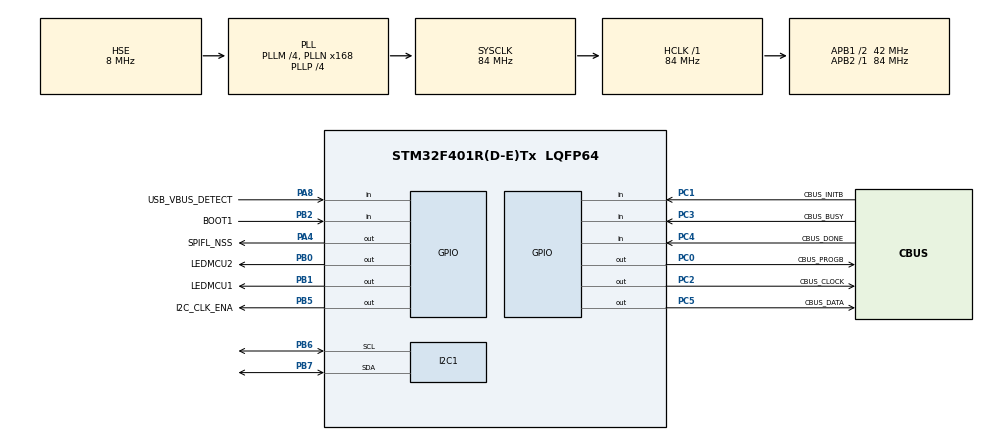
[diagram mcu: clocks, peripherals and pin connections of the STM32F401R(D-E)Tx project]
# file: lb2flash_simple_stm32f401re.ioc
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Mcu.Family=STM32F4
Mcu.Name=STM32F401R(D-E)Tx
Mcu.Package=LQFP64
NVIC.PriorityGroup=NVIC_PRIORITYGROUP_4
PA13.Mode=JTAG_5_pins
PA13.Signal=SYS_JTMS-SWDIO
PA14.Mode=JTAG_5_pins
PA14.Signal=SYS_JTCK-SWCLK
PA15.Mode=JTAG_5_pins
PA15.Signal=SYS_JTDI
PA4.GPIO_Label=SPIFL_NSS
PA4.Signal=GPIO_Output
PA8.GPIO_Label=USB_VBUS_DETECT
PA8.Signal=GPIO_Input
PB0.GPIO_Label=LEDMCU2
PB0.Signal=GPIO_Output
PB1.GPIO_Label=LEDMCU1
PB1.Signal=GPIO_Output
PB2.GPIO_Label=BOOT1
PB2.Signal=GPIO_Input
PB3.Mode=JTAG_5_pins
PB3.Signal=SYS_JTDO-SWO
PB4.Mode=JTAG_5_pins
PB4.Signal=SYS_JTRST
PB5.GPIO_Label=I2C_CLK_ENA
PB5.Signal=GPIO_Output
PB6.Mode=I2C
PB6.Signal=I2C1_SCL
PB7.Mode=I2C
PB7.Signal=I2C1_SDA
PC0.GPIO_Label=CBUS_PROGB
PC0.Signal=GPIO_Output
PC1.GPIO_Label=CBUS_INITB
PC1.GPIO_PuPd=GPIO_PULLUP
PC1.Signal=GPIO_Input
PC2.GPIO_Label=CBUS_CLOCK
PC2.GPIO_ModeDefaultOutputPP=GPIO_MODE_OUTPUT_PP
PC2.GPIO_PuPd=GPIO_PULLUP
PC2.GPIO_Speed=GPIO_SPEED_FREQ_MEDIUM
PC2.Signal=GPIO_Output
PC3.GPIO_Label=CBUS_BUSY
PC3.Signal=GPIO_Input
PC4.GPIO_Label=CBUS_DONE
PC4.GPIO_PuPd=GPIO_PULLUP
PC4.Signal=GPIO_Input
PC5.GPIO_Label=CBUS_DATA
PC5.GPIO_ModeDefaultOutputPP=GPIO_MODE_OUTPUT_OD
PC5.GPIO_PuPd=GPIO_NOPULL
PC5.GPIO_Speed=GPIO_SPEED_FREQ_MEDIUM
PC5.Signal=GPIO_Output
PH0\ -\ OSC_IN.Mode=HSE-External-Oscillator
PH0\ -\ OSC_IN.Signal=RCC_OSC_IN
PH1\ -\ OSC_OUT.Mode=HSE-External-Oscillator
PH1\ -\ OSC_OUT.Signal=RCC_OSC_OUT
ProjectManager.HeapSize=0x200
ProjectManager.StackSize=0x400
ProjectManager.TargetToolchain=Makefile
RCC.48MHZClocksFreq_Value=48000000
RCC.AHBFreq_Value=84000000
RCC.APB1CLKDivider=RCC_HCLK_DIV2
RCC.APB1Freq_Value=42000000
RCC.APB1TimFreq_Value=84000000
RCC.APB2Freq_Value=84000000
RCC.APB2TimFreq_Value=84000000
RCC.CortexFreq_Value=84000000
RCC.HCLKFreq_Value=84000000
RCC.HSE_VALUE=8000000
RCC.HSI_VALUE=16000000
RCC.LSE_VALUE=32768
RCC.PLLM=4
RCC.PLLN=168
RCC.PLLP=RCC_PLLP_DIV4
RCC.PLLQ=7
RCC.PLLSourceVirtual=RCC_PLLSOURCE_HSE
RCC.SYSCLKFreq_VALUE=84000000
RCC.SYSCLKSource=RCC_SYSCLKSOURCE_PLLCLK
RCC.VCOOutputFreq_Value=336000000
board=custom

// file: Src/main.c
/* USER CODE BEGIN Header */
/**
  ******************************************************************************
  * @file           : main.c
  * @brief          : Main program body
  ******************************************************************************
  ** This notice applies to any and all portions of this file
  * that are not between comment pairs USER CODE BEGIN and
  * USER CODE END. Other portions of this file, whether
  * inserted by the user or by software development tools
  * are owned by their respective copyright owners.
  *
  * COPYRIGHT(c) 2019 STMicroelectronics
  *
  * Redistribution and use in source and binary forms, with or without modification,
  * are permitted provided that the following conditions are met:
  *   1. Redistributions of source code must retain the above copyright notice,
  *      this list of conditions and the following disclaimer.
  *   2. Redistributions in binary form must reproduce the above copyright notice,
  *      this list of conditions and the following disclaimer in the documentation
  *      and/or other materials provided with the distribution.
  *   3. Neither the name of STMicroelectronics nor the names of its contributors
  *      may be used to endorse or promote products derived from this software
  *      without specific prior written permission.
  *
  * THIS SOFTWARE IS PROVIDED BY THE COPYRIGHT HOLDERS AND CONTRIBUTORS "AS IS"
  * AND ANY EXPRESS OR IMPLIED WARRANTIES, INCLUDING, BUT NOT LIMITED TO, THE
  * IMPLIED WARRANTIES OF MERCHANTABILITY AND FITNESS FOR A PARTICULAR PURPOSE ARE
  * DISCLAIMED. IN NO EVENT SHALL THE COPYRIGHT HOLDER OR CONTRIBUTORS BE LIABLE
  * FOR ANY DIRECT, INDIRECT, INCIDENTAL, SPECIAL, EXEMPLARY, OR CONSEQUENTIAL
  * DAMAGES (INCLUDING, BUT NOT LIMITED TO, PROCUREMENT OF SUBSTITUTE GOODS OR
  * SERVICES; LOSS OF USE, DATA, OR PROFITS; OR BUSINESS INTERRUPTION) HOWEVER
  * CAUSED AND ON ANY THEORY OF LIABILITY, WHETHER IN CONTRACT, STRICT LIABILITY,
  * OR TORT (INCLUDING NEGLIGENCE OR OTHERWISE) ARISING IN ANY WAY OUT OF THE USE
  * OF THIS SOFTWARE, EVEN IF ADVISED OF THE POSSIBILITY OF SUCH DAMAGE.
  *
  ******************************************************************************
  */
/* USER CODE END Header */

#include "main.h"

/* USER CODE BEGIN Includes */
#include "cdce913_i2c.h"
/* USER CODE END Includes */

I2C_HandleTypeDef hi2c1;

/* USER CODE BEGIN PV */
//__attribute__((__section__(".user_data"))) const volatile uint8_t bitstream [392192];
const volatile uint8_t *bitstream=(const volatile uint8_t *)0x08020004;
const volatile uint32_t *bitstream_size=(const volatile uint32_t *)0x08020000;
//__attribute__((__section__(".user_settings"))) const uint32_t bitstream_size [];
//const volatile uint8_t *userConfig=(const volatile uint32_t *)0x08000000;
/* USER CODE END PV */

void SystemClock_Config(void);
static void MX_GPIO_Init(void);
static void MX_I2C1_Init(void);
/* USER CODE BEGIN PFP */
void push_bitstream ();
void delay();
uint8_t boot_mode_check (void);
/* USER CODE END PFP */

/* USER CODE BEGIN 0 */

void delay ()
{
    uint32_t d = 2;
    while (d--)
    {
	HAL_GPIO_WritePin(LEDMCU2_GPIO_Port, LEDMCU2_Pin, GPIO_PIN_RESET);
    }
}

uint8_t boot_mode_check (void)
{
  if (HAL_GPIO_ReadPin(GPIOB, BOOT1_Pin))
      return 1;
  else
      return 0;
}

void push_bitstream ()
{

    uint8_t progb_set = 0;

    /* Disable interrupts */
//    __disable_irq();
//    if (boot_mode_check())

#ifdef DBG_PRINT
	printf("pre flash unlock\n");
#endif

    HAL_FLASH_Unlock();
    __HAL_FLASH_CLEAR_FLAG(FLASH_FLAG_EOP | FLASH_FLAG_OPERR | FLASH_FLAG_WRPERR | FLASH_FLAG_PGAERR | FLASH_FLAG_PGSERR );

#ifdef DBG_PRINT
	printf("post flash unlock\n");
#endif

    uint32_t bs_size = bitstream_size [0];
//    bs_size += 8; //extra 8 clock cycles

//    uint32_t  bs_size = 128 * 1024;//0xFFFF;
 #ifdef DBG_PRINT
    printf("config size %ld\n", bs_size);
#endif

    //reset MCU2 LED
    HAL_GPIO_WritePin(LEDMCU2_GPIO_Port, LEDMCU2_Pin, GPIO_PIN_RESET);

    //unset CLOCK
    HAL_GPIO_WritePin(CBUS_CLOCK_GPIO_Port, CBUS_CLOCK_Pin, GPIO_PIN_RESET);
    //unset PROGB
    HAL_GPIO_WritePin(CBUS_PROGB_GPIO_Port, CBUS_PROGB_Pin, GPIO_PIN_RESET);
    //unset CBUS_DATA
    HAL_GPIO_WritePin(CBUS_DATA_GPIO_Port, CBUS_DATA_Pin, GPIO_PIN_RESET);

    //wait until INITB is down
    while (!HAL_GPIO_ReadPin(CBUS_INITB_GPIO_Port, CBUS_INITB_Pin))
    {
	if (!progb_set)
	{
	    progb_set = 1;
	    HAL_GPIO_WritePin(CBUS_PROGB_GPIO_Port, CBUS_PROGB_Pin, GPIO_PIN_SET);
	}
    }

    uint32_t i = 0;
    for (i = 0; i < bs_size; i++)
    {

	uint8_t b = bitstream [i];

#ifdef DBG_PRINT
	printf("%lu ", i);
#endif

	uint8_t j;
	j = 8;

	while (j--)
	{

	    HAL_GPIO_WritePin(CBUS_CLOCK_GPIO_Port, CBUS_CLOCK_Pin, GPIO_PIN_RESET);
//	    delay();

	    if (b & (1<<j) )
		HAL_GPIO_WritePin(CBUS_DATA_GPIO_Port, CBUS_DATA_Pin, GPIO_PIN_SET);
	    else HAL_GPIO_WritePin(CBUS_DATA_GPIO_Port, CBUS_DATA_Pin, GPIO_PIN_RESET);

//	    delay();

	    HAL_GPIO_WritePin(CBUS_CLOCK_GPIO_Port, CBUS_CLOCK_Pin, GPIO_PIN_SET);

//	    delay();

	    //asm ("nop");

	}
    }

    HAL_GPIO_WritePin(CBUS_DATA_GPIO_Port, CBUS_DATA_Pin, GPIO_PIN_RESET);
//    delay();

    while (!HAL_GPIO_ReadPin(CBUS_DONE_GPIO_Port, CBUS_DONE_Pin))
    {
	HAL_GPIO_WritePin(CBUS_CLOCK_GPIO_Port, CBUS_CLOCK_Pin, GPIO_PIN_SET);
//	delay();

	HAL_GPIO_WritePin(CBUS_CLOCK_GPIO_Port, CBUS_CLOCK_Pin, GPIO_PIN_RESET);
//	delay();
    }

    for (i = 0; i < 8; i++)
    {
	HAL_GPIO_WritePin(CBUS_CLOCK_GPIO_Port, CBUS_CLOCK_Pin, GPIO_PIN_SET);
//	delay();

	HAL_GPIO_WritePin(CBUS_CLOCK_GPIO_Port, CBUS_CLOCK_Pin, GPIO_PIN_RESET);
//	delay();
    }

    HAL_GPIO_WritePin(LEDMCU2_GPIO_Port, LEDMCU2_Pin, GPIO_PIN_SET);

    HAL_FLASH_Lock();

    HAL_GPIO_WritePin(CBUS_CLOCK_GPIO_Port, CBUS_CLOCK_Pin, GPIO_PIN_RESET);

}

/* USER CODE END 0 */

int main(void)
{

  /* MCU Configuration--------------------------------------------------------*/

  /* Reset of all peripherals, Initializes the Flash interface and the Systick. */
  HAL_Init();

  /* Configure the system clock */
  SystemClock_Config();

  /* Initialize all configured peripherals */
  MX_GPIO_Init();
  MX_I2C1_Init();
  /* USER CODE BEGIN 2 */

   __disable_irq();

//configure the clock generator
  cdce913_output_switch (0);
  cdce913_i2c_push_config(&hi2c1);
  cdce913_output_switch (1);

  push_bitstream ();

// __enable_irq();

  /* USER CODE END 2 */

  /* Infinite loop */
  while (1)
  {

  }
}

void SystemClock_Config(void)
{
  RCC_OscInitTypeDef RCC_OscInitStruct = {0};
  RCC_ClkInitTypeDef RCC_ClkInitStruct = {0};

  /**Configure the main internal regulator output voltage
  */
  __HAL_RCC_PWR_CLK_ENABLE();
  __HAL_PWR_VOLTAGESCALING_CONFIG(PWR_REGULATOR_VOLTAGE_SCALE2);
  /**Initializes the CPU, AHB and APB busses clocks
  */
  RCC_OscInitStruct.OscillatorType = RCC_OSCILLATORTYPE_HSE;
  RCC_OscInitStruct.HSEState = RCC_HSE_ON;
  RCC_OscInitStruct.PLL.PLLState = RCC_PLL_ON;
  RCC_OscInitStruct.PLL.PLLSource = RCC_PLLSOURCE_HSE;
  RCC_OscInitStruct.PLL.PLLM = 4;
  RCC_OscInitStruct.PLL.PLLN = 168;
  RCC_OscInitStruct.PLL.PLLP = RCC_PLLP_DIV4;
  RCC_OscInitStruct.PLL.PLLQ = 7;
  if (HAL_RCC_OscConfig(&RCC_OscInitStruct) != HAL_OK)
  {
    Error_Handler();
  }
  /**Initializes the CPU, AHB and APB busses clocks
  */
  RCC_ClkInitStruct.ClockType = RCC_CLOCKTYPE_HCLK|RCC_CLOCKTYPE_SYSCLK
                              |RCC_CLOCKTYPE_PCLK1|RCC_CLOCKTYPE_PCLK2;
  RCC_ClkInitStruct.SYSCLKSource = RCC_SYSCLKSOURCE_PLLCLK;
  RCC_ClkInitStruct.AHBCLKDivider = RCC_SYSCLK_DIV1;
  RCC_ClkInitStruct.APB1CLKDivider = RCC_HCLK_DIV2;
  RCC_ClkInitStruct.APB2CLKDivider = RCC_HCLK_DIV1;

  if (HAL_RCC_ClockConfig(&RCC_ClkInitStruct, FLASH_LATENCY_2) != HAL_OK)
  {
    Error_Handler();
  }
}

static void MX_I2C1_Init(void)
{

  hi2c1.Instance = I2C1;
  hi2c1.Init.ClockSpeed = 100000;
  hi2c1.Init.DutyCycle = I2C_DUTYCYCLE_2;
  hi2c1.Init.OwnAddress1 = 0;
  hi2c1.Init.AddressingMode = I2C_ADDRESSINGMODE_7BIT;
  hi2c1.Init.DualAddressMode = I2C_DUALADDRESS_DISABLE;
  hi2c1.Init.OwnAddress2 = 0;
  hi2c1.Init.GeneralCallMode = I2C_GENERALCALL_DISABLE;
  hi2c1.Init.NoStretchMode = I2C_NOSTRETCH_DISABLE;
  if (HAL_I2C_Init(&hi2c1) != HAL_OK)
  {
    Error_Handler();
  }

}

static void MX_GPIO_Init(void)
{
  GPIO_InitTypeDef GPIO_InitStruct = {0};

  /* GPIO Ports Clock Enable */
  __HAL_RCC_GPIOH_CLK_ENABLE();
  __HAL_RCC_GPIOC_CLK_ENABLE();
  __HAL_RCC_GPIOA_CLK_ENABLE();
  __HAL_RCC_GPIOB_CLK_ENABLE();

  /*Configure GPIO pin Output Level */
  HAL_GPIO_WritePin(GPIOC, CBUS_PROGB_Pin|CBUS_CLOCK_Pin|CBUS_DATA_Pin, GPIO_PIN_RESET);

  /*Configure GPIO pin Output Level */
  HAL_GPIO_WritePin(SPIFL_NSS_GPIO_Port, SPIFL_NSS_Pin, GPIO_PIN_RESET);

  /*Configure GPIO pin Output Level */
  HAL_GPIO_WritePin(GPIOB, LEDMCU2_Pin|LEDMCU1_Pin|I2C_CLK_ENA_Pin, GPIO_PIN_RESET);

  /*Configure GPIO pin : CBUS_PROGB_Pin */
  GPIO_InitStruct.Pin = CBUS_PROGB_Pin;
  GPIO_InitStruct.Mode = GPIO_MODE_OUTPUT_PP;
  GPIO_InitStruct.Pull = GPIO_NOPULL;
  GPIO_InitStruct.Speed = GPIO_SPEED_FREQ_LOW;
  HAL_GPIO_Init(CBUS_PROGB_GPIO_Port, &GPIO_InitStruct);

  /*Configure GPIO pins : CBUS_INITB_Pin CBUS_DONE_Pin */
  GPIO_InitStruct.Pin = CBUS_INITB_Pin|CBUS_DONE_Pin;
  GPIO_InitStruct.Mode = GPIO_MODE_INPUT;
  GPIO_InitStruct.Pull = GPIO_PULLUP;
  HAL_GPIO_Init(GPIOC, &GPIO_InitStruct);

  /*Configure GPIO pin : CBUS_CLOCK_Pin */
  GPIO_InitStruct.Pin = CBUS_CLOCK_Pin;
  GPIO_InitStruct.Mode = GPIO_MODE_OUTPUT_PP;
  GPIO_InitStruct.Pull = GPIO_PULLUP;
  GPIO_InitStruct.Speed = GPIO_SPEED_FREQ_MEDIUM;
  HAL_GPIO_Init(CBUS_CLOCK_GPIO_Port, &GPIO_InitStruct);

  /*Configure GPIO pin : CBUS_BUSY_Pin */
  GPIO_InitStruct.Pin = CBUS_BUSY_Pin;
  GPIO_InitStruct.Mode = GPIO_MODE_INPUT;
  GPIO_InitStruct.Pull = GPIO_NOPULL;
  HAL_GPIO_Init(CBUS_BUSY_GPIO_Port, &GPIO_InitStruct);

  /*Configure GPIO pin : SPIFL_NSS_Pin */
  GPIO_InitStruct.Pin = SPIFL_NSS_Pin;
  GPIO_InitStruct.Mode = GPIO_MODE_OUTPUT_PP;
  GPIO_InitStruct.Pull = GPIO_NOPULL;
  GPIO_InitStruct.Speed = GPIO_SPEED_FREQ_LOW;
  HAL_GPIO_Init(SPIFL_NSS_GPIO_Port, &GPIO_InitStruct);

  /*Configure GPIO pin : CBUS_DATA_Pin */
  GPIO_InitStruct.Pin = CBUS_DATA_Pin;
  GPIO_InitStruct.Mode = GPIO_MODE_OUTPUT_OD;
  GPIO_InitStruct.Pull = GPIO_NOPULL;
  GPIO_InitStruct.Speed = GPIO_SPEED_FREQ_MEDIUM;
  HAL_GPIO_Init(CBUS_DATA_GPIO_Port, &GPIO_InitStruct);

  /*Configure GPIO pins : LEDMCU2_Pin LEDMCU1_Pin I2C_CLK_ENA_Pin */
  GPIO_InitStruct.Pin = LEDMCU2_Pin|LEDMCU1_Pin|I2C_CLK_ENA_Pin;
  GPIO_InitStruct.Mode = GPIO_MODE_OUTPUT_PP;
  GPIO_InitStruct.Pull = GPIO_NOPULL;
  GPIO_InitStruct.Speed = GPIO_SPEED_FREQ_LOW;
  HAL_GPIO_Init(GPIOB, &GPIO_InitStruct);

  /*Configure GPIO pin : BOOT1_Pin */
  GPIO_InitStruct.Pin = BOOT1_Pin;
  GPIO_InitStruct.Mode = GPIO_MODE_INPUT;
  GPIO_InitStruct.Pull = GPIO_NOPULL;
  HAL_GPIO_Init(BOOT1_GPIO_Port, &GPIO_InitStruct);

  /*Configure GPIO pin : USB_VBUS_DETECT_Pin */
  GPIO_InitStruct.Pin = USB_VBUS_DETECT_Pin;
  GPIO_InitStruct.Mode = GPIO_MODE_INPUT;
  GPIO_InitStruct.Pull = GPIO_NOPULL;
  HAL_GPIO_Init(USB_VBUS_DETECT_GPIO_Port, &GPIO_InitStruct);

}

void Error_Handler(void)
{
}

/************************ (C) COPYRIGHT STMicroelectronics *****END OF FILE****/
